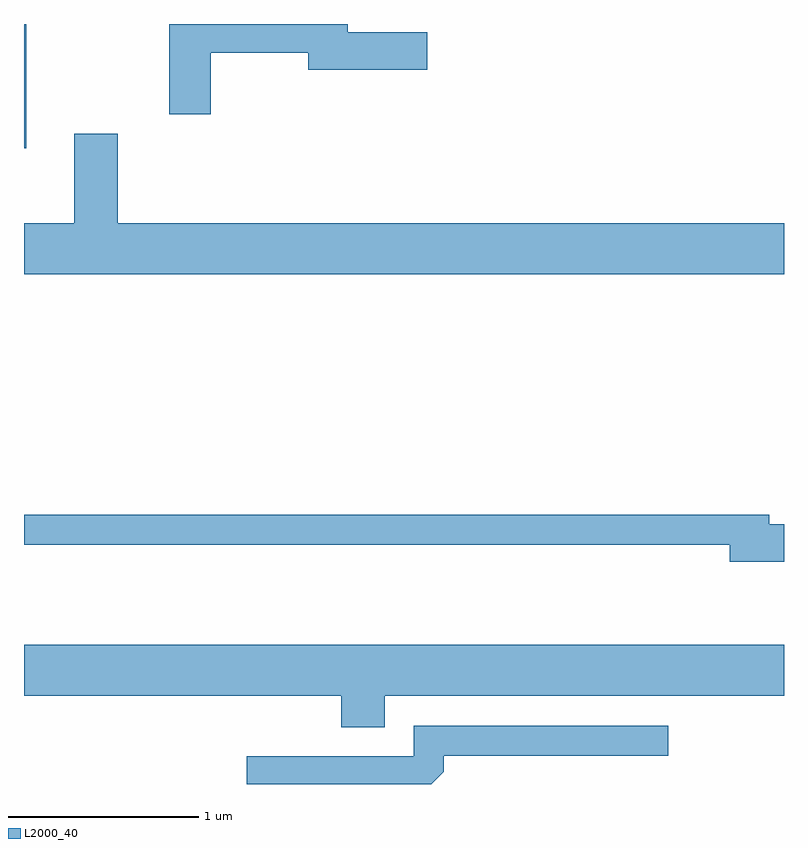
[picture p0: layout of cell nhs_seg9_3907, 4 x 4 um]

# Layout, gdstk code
import gdstk
lib = gdstk.Library(unit=1e-6, precision=1e-09)
def R(c, l, rs):  # rectangles x0, y0, x1, y1
    for r in rs: c.add(gdstk.rectangle(r[:2], r[2:], *l))
def P(c, l, *ps):  # polygons
    for p in ps: c.add(gdstk.Polygon(p, *l))
L2000_40 = (2000, 40)

nhs_seg9_3907 = lib.new_cell('nhs_seg9_3907')
R(nhs_seg9_3907, L2000_40, [(299.611,2025.778,299.624,2026.432)])
P(nhs_seg9_3907, L2000_40, [(300.594,2026.281),(301.106,2026.281),(301.106,2026.191),(301.734,2026.191),(301.734,2026.389),(301.314,2026.389),(301.314,2026.432),(300.376,2026.432),(300.376,2025.956),(300.594,2025.956)],
  [(303.611,2025.384),(300.104,2025.384),(300.104,2025.854),(299.876,2025.854),(299.876,2025.384),(299.611,2025.384),(299.611,2025.116),(303.611,2025.116)],
  [(303.611,2023.799),(303.534,2023.799),(303.534,2023.849),(299.611,2023.849),(299.611,2023.691),(303.326,2023.691),(303.326,2023.601),(303.611,2023.601)],
  [(301.509,2022.896),(303.611,2022.896),(303.611,2023.164),(299.611,2023.164),(299.611,2022.896),(301.281,2022.896),(301.281,2022.731),(301.509,2022.731)],
  [(301.819,2022.497),(301.819,2022.581),(303.003,2022.581),(303.003,2022.739),(301.661,2022.739),(301.661,2022.579),(300.783,2022.579),(300.783,2022.432),(301.755,2022.432)])

lib.write_gds('nhs_seg9_3907.gds')
